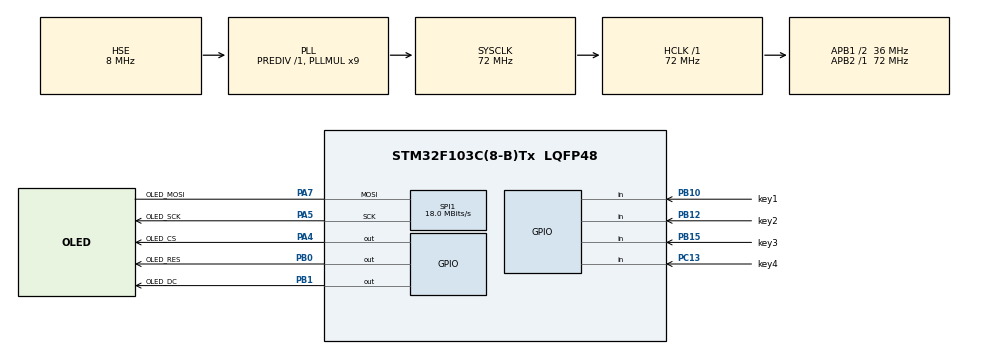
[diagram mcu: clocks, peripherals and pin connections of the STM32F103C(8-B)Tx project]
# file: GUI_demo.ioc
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Dma.Request0=SPI1_TX
Dma.SPI1_TX.0.Direction=DMA_MEMORY_TO_PERIPH
Dma.SPI1_TX.0.Instance=DMA1_Channel3
Dma.SPI1_TX.0.MemDataAlignment=DMA_MDATAALIGN_BYTE
Dma.SPI1_TX.0.MemInc=DMA_MINC_ENABLE
Dma.SPI1_TX.0.Mode=DMA_NORMAL
Dma.SPI1_TX.0.PeriphDataAlignment=DMA_PDATAALIGN_BYTE
Dma.SPI1_TX.0.PeriphInc=DMA_PINC_DISABLE
Dma.SPI1_TX.0.Priority=DMA_PRIORITY_LOW
Mcu.Family=STM32F1
Mcu.Name=STM32F103C(8-B)Tx
Mcu.Package=LQFP48
NVIC.DMA1_Channel3_IRQn=true\:0\:0\:false\:false\:true\:false\:true\:true
NVIC.PriorityGroup=NVIC_PRIORITYGROUP_4
PA13.Mode=Serial_Wire
PA13.Signal=SYS_JTMS-SWDIO
PA14.Mode=Serial_Wire
PA14.Signal=SYS_JTCK-SWCLK
PA4.GPIO_Label=OLED_CS
PA4.Signal=GPIO_Output
PA5.GPIO_Label=OLED_SCK
PA5.Mode=Simplex_Bidirectional_Master
PA5.Signal=SPI1_SCK
PA7.GPIO_Label=OLED_MOSI
PA7.Mode=Simplex_Bidirectional_Master
PA7.Signal=SPI1_MOSI
PB0.GPIO_Label=OLED_RES
PB0.GPIO_PuPd=GPIO_PULLUP
PB0.Signal=GPIO_Output
PB1.GPIO_Label=OLED_DC
PB1.Signal=GPIO_Output
PB10.GPIO_Label=key1
PB10.GPIO_PuPd=GPIO_PULLUP
PB10.Signal=GPIO_Input
PB12.GPIO_Label=key2
PB12.GPIO_PuPd=GPIO_PULLUP
PB12.Signal=GPIO_Input
PB15.GPIO_Label=key3
PB15.GPIO_PuPd=GPIO_PULLUP
PB15.Signal=GPIO_Input
PC13-TAMPER-RTC.GPIO_Label=key4
PC13-TAMPER-RTC.GPIO_PuPd=GPIO_PULLUP
PC13-TAMPER-RTC.Signal=GPIO_Input
PC14-OSC32_IN.Mode=LSE-External-Oscillator
PC14-OSC32_IN.Signal=RCC_OSC32_IN
PC15-OSC32_OUT.Mode=LSE-External-Oscillator
PC15-OSC32_OUT.Signal=RCC_OSC32_OUT
PD0-OSC_IN.Mode=HSE-External-Oscillator
PD0-OSC_IN.Signal=RCC_OSC_IN
PD1-OSC_OUT.Mode=HSE-External-Oscillator
PD1-OSC_OUT.Signal=RCC_OSC_OUT
ProjectManager.HeapSize=0x200
ProjectManager.StackSize=0x400
ProjectManager.TargetToolchain=CMake
RCC.AHBFreq_Value=72000000
RCC.APB1CLKDivider=RCC_HCLK_DIV2
RCC.APB1Freq_Value=36000000
RCC.APB1TimFreq_Value=72000000
RCC.APB2Freq_Value=72000000
RCC.APB2TimFreq_Value=72000000
RCC.HCLKFreq_Value=72000000
RCC.PLLMUL=RCC_PLL_MUL9
RCC.PLLSourceVirtual=RCC_PLLSOURCE_HSE
RCC.SYSCLKFreq_VALUE=72000000
RCC.SYSCLKSource=RCC_SYSCLKSOURCE_PLLCLK
RCC.USBFreq_Value=72000000
SPI1.BaudRatePrescaler=SPI_BAUDRATEPRESCALER_4
SPI1.CLKPhase=SPI_PHASE_2EDGE
SPI1.CLKPolarity=SPI_POLARITY_HIGH
SPI1.CalculateBaudRate=18.0 MBits/s
SPI1.Direction=SPI_DIRECTION_1LINE
SPI1.Mode=SPI_MODE_MASTER
SPI1.VirtualType=VM_MASTER
TIM1.Prescaler=99
VP_TIM1_VS_ClockSourceINT.Mode=Internal
board=custom

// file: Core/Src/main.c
/* USER CODE BEGIN Header */
/**
  ******************************************************************************
  * @file           : main.c
  * @brief          : Main program body
  ******************************************************************************
  * @attention
  *
  * Copyright (c) 2026 STMicroelectronics.
  * All rights reserved.
  *
  * This software is licensed under terms that can be found in the LICENSE file
  * in the root directory of this software component.
  * If no LICENSE file comes with this software, it is provided AS-IS.
  *
  ******************************************************************************
  */
/* USER CODE END Header */
#include "main.h"
#include "dma.h"
#include "spi.h"
#include "tim.h"
#include "gpio.h"

/* USER CODE BEGIN Includes */
#include "stm32_u8g2.h"
#include "u8g2.h"
#include "user_func.h"
#include "Key.h"

/* forward declarations — must precede PV menu definitions */
static void meter_bar_action(void);
static void meter_quad_action(void);
static void brightness_action(void);
static void power_action(void);
static void reset_action(void);
static void custom_screen1_action(void);
static void custom_screen2_action(void);
static void my_custom_render(u8g2_t *u8g2, uint8_t id);
/* USER CODE END Includes */

/* USER CODE BEGIN PV */
/* demo variables referenced by action callbacks */
static int16_t demo_brightness = 50;
static bool    demo_power = true;

/* ---- 仪表盘变量 ---- */
static int16_t g_temp  = 30;
static int16_t g_humi  = 67;
static int16_t g_volt  = 330;
static int16_t g_press = 1013;
static int16_t g_rpm   = 2750;

/* 进度条型仪表盘 (bar) */
static meter_bar_page_t dash_bar_page =
    METER_BAR_PAGE("Bar Dashboard",
        { "Temperature", &g_temp,  0,   60, "C",   5 },
        { "Humidity",    &g_humi,  0,  100, "%",   5 },
        { "Voltage",     &g_volt,  200, 500, "mV", 5 },
    );

/* 四象限型仪表盘 (quad) */
static meter_quad_page_t dash_quad_page =
    METER_QUAD_PAGE("Quad Monitor",
        { "Temperature", &g_temp,  "°C"   },
        { "Humidity",    &g_humi,  "%"    },
        { "Pressure",    &g_press, "hPa"  },
        { "Motor RPM",   &g_rpm,   "rpm"  },
    );

/* ---- 24x24 全白测试图标 (共用同一份位图数据) ---- */
#define ICON_W  24
#define ICON_H  24

static const uint8_t icon_white_bits[] U8X8_PROGMEM = {
    0xFF,0xFF,0xFF, 0xFF,0xFF,0xFF, 0xFF,0xFF,0xFF, 0xFF,0xFF,0xFF,
    0xFF,0xFF,0xFF, 0xFF,0xFF,0xFF, 0xFF,0xFF,0xFF, 0xFF,0xFF,0xFF,
    0xFF,0xFF,0xFF, 0xFF,0xFF,0xFF, 0xFF,0xFF,0xFF, 0xFF,0xFF,0xFF,
    0xFF,0xFF,0xFF, 0xFF,0xFF,0xFF, 0xFF,0xFF,0xFF, 0xFF,0xFF,0xFF,
    0xFF,0xFF,0xFF, 0xFF,0xFF,0xFF, 0xFF,0xFF,0xFF, 0xFF,0xFF,0xFF,
    0xFF,0xFF,0xFF, 0xFF,0xFF,0xFF, 0xFF,0xFF,0xFF, 0xFF,0xFF,0xFF,
};
static const uint8_t icon_home_bits[] U8X8_PROGMEM = {
0xff, 0xff, 0xff, 0xff, 0xff, 0xff, 0xff, 0xc7, 0xff, 0xff, 0x83, 0xff, 0xff, 0x11, 0xff, 0xff, 0x38, 0xfe, 0x7f, 0xfc, 0xfc, 0x3f, 0xfe, 0xf1,
0x1f, 0xff, 0xe3, 0x8f, 0xff, 0xc7, 0xc7, 0xff, 0xcf, 0xe7, 0xff, 0xcf, 0xe7, 0xff, 0xcf, 0xe7, 0xff, 0xcf, 0xe7, 0x03, 0xcf, 0xe7, 0x01, 0xcf,
0xe7, 0x39, 0xcf, 0xe7, 0x39, 0xcf, 0xe7, 0x39, 0xcf, 0xe7, 0x39, 0xcf, 0x07, 0x00, 0xc0, 0x0f, 0x00, 0xc0, 0xff, 0xff, 0xff, 0xff, 0xff, 0xff,

};
static const uint8_t icon_search_bits[] U8X8_PROGMEM = {
0xff, 0xff, 0xff, 0xff, 0x9f, 0xff, 0xff, 0x03, 0xfc, 0xff, 0x01, 0xf8, 0xff, 0xf8, 0xf1, 0x7f, 0xfc, 0xe6, 0x7f, 0xfe, 0xc4, 0x3f, 0xff, 0xcd,
0x3f, 0xff, 0xcf, 0x3f, 0xff, 0xcf, 0x3f, 0xff, 0xcf, 0x3f, 0xff, 0xcf, 0x7f, 0xfe, 0xc7, 0x7f, 0xfe, 0xe7, 0xff, 0xfc, 0xe3, 0x7f, 0xf0, 0xf0,
0x3f, 0x00, 0xf8, 0x1f, 0x0f, 0xfe, 0x0f, 0xff, 0xff, 0x87, 0xff, 0xff, 0xc3, 0xff, 0xff, 0xe3, 0xff, 0xff, 0xf7, 0xff, 0xff, 0xff, 0xff, 0xff,

};
static const uint8_t icon_settings_bits[] U8X8_PROGMEM ={
0xff, 0xff, 0xff, 0xff, 0xff, 0xff, 0xff, 0xc3, 0xff, 0xff, 0x83, 0xff, 0x3f, 0x99, 0xf8, 0x1f, 0x18, 0xf0, 0x8f, 0x7c, 0xf2, 0x8f, 0xe7, 0xf3,
0x9f, 0x81, 0xf1, 0x8f, 0x11, 0xf3, 0xc3, 0x3c, 0xc2, 0xf3, 0x7c, 0xce, 0xf3, 0x7c, 0xce, 0xc3, 0x3c, 0xc3, 0x8f, 0x10, 0xf3, 0x9f, 0x81, 0xf1,
0x8f, 0xe7, 0xf3, 0xcf, 0x7c, 0xf2, 0x1f, 0x18, 0xf0, 0x3f, 0x90, 0xf8, 0xff, 0x83, 0xff, 0xff, 0xc3, 0xff, 0xff, 0xff, 0xff, 0xff, 0xff, 0xff,

};
static const uint8_t icon_about_bits[] U8X8_PROGMEM ={
0xff, 0xff, 0xff, 0xff, 0xe7, 0xff, 0x7f, 0x00, 0xff, 0x3f, 0x00, 0xfc, 0x1f, 0x7f, 0xf8, 0x8f, 0xff, 0xf1, 0xc7, 0xf7, 0xf3, 0xe3, 0xe7, 0xe7,
0xf3, 0xe7, 0xe7, 0xf3, 0xe7, 0xc7, 0xf1, 0xe7, 0xcf, 0xf1, 0xe7, 0xcf, 0xf1, 0xe7, 0xcf, 0xf1, 0xe7, 0xcf, 0xf3, 0xff, 0xc7, 0xf3, 0xf7, 0xe7,
0xe3, 0xe3, 0xe7, 0xc7, 0xf7, 0xf3, 0x8f, 0xff, 0xf1, 0x1f, 0x7f, 0xf8, 0x3f, 0x00, 0xfc, 0x7f, 0x00, 0xff, 0xff, 0xe7, 0xff, 0xff, 0xff, 0xff,

};

/* ---- 页面前向声明 (供 parent 指针交叉引用) ---- */
static menu_page_t settings_page;
static menu_page_t display_page;
static menu_page_t about_page;
static menu_page_t icon_page;
static menu_page_t root_page;

/* ---- 子菜单页 (使用宏, parent 直接写入) ---- */
static menu_page_t settings_page =
    MENU_PAGE_TEXT("Settings", &root_page,
        { "Brightness Adjustment Level", {0}, brightness_action, NULL },
        { "Power Save Mode Config",      {0}, power_action,      NULL },
        { "Reset",                       {0}, reset_action,      NULL },
    );

static menu_page_t display_page =
    MENU_PAGE_TEXT("Display", &root_page,
        { "Flip Display 180 Degrees",    {0}, NULL, NULL },
        { "Invert Display Color Mode",   {0}, NULL, NULL },
    );

static menu_page_t about_page =
    MENU_PAGE_TEXT("About", &root_page,
        { "STM32F103 GUI Demo Project v4.1",          {0}, NULL, NULL },
        { "u8g2 Library + SSD1306 OLED Display",      {0}, NULL, NULL },
        { "Build Date: 2026-06-15",                   {0}, NULL, NULL },
    );

/* ---- 图标菜单页 (水平排列, 全白测试位图) ---- */
static menu_page_t icon_page =
    MENU_PAGE_ICON("Icon Menu", &root_page,
        { "Home",     {icon_home_bits, ICON_W, ICON_H}, NULL, NULL },
        { "Search",   {icon_search_bits, ICON_W, ICON_H}, NULL, NULL },
        { "Settings", {icon_settings_bits, ICON_W, ICON_H}, NULL, NULL },
        { "Tools",    {icon_white_bits, ICON_W, ICON_H}, NULL, NULL },
        { "About",    {icon_about_bits, ICON_W, ICON_H}, NULL, NULL },
    );

/* ---- 根菜单 ---- */
static menu_page_t root_page =
    MENU_PAGE_TEXT("Main Menu", NULL,
        { "Custom Screen 1 - Long Name Test", {0}, custom_screen1_action, NULL },
        { "Custom Screen 2",                  {0}, custom_screen2_action, NULL },
        { "Bar Dashboard",                    {0}, meter_bar_action,    NULL },
        { "Quad Monitor",                     {0}, meter_quad_action,   NULL },
        { "Icon Menu",                        {0}, NULL,                &icon_page },
        { "Settings",                         {0}, NULL,                &settings_page },
        { "Display",                          {0}, NULL,                &display_page },
        { "About",                            {0}, NULL,                &about_page },
    );
/* USER CODE END PV */

void SystemClock_Config(void);

/* USER CODE BEGIN 0 */
static void meter_bar_action(void)        { UI_meter_bar_open(&dash_bar_page); }
static void meter_quad_action(void)       { UI_meter_quad_open(&dash_quad_page); }

static void brightness_action(void) {
    UI_popup_value_open("Brightness", &demo_brightness, 0, 100, 5);
}

static void power_action(void) {
    UI_popup_toggle_open("Power Save", &demo_power, "ON", "OFF");
}

static void confirm_reset_cb(bool ok) {
    if (ok) UI_popup_toast_show("Settings cleared");
}
static void reset_action(void) {
    UI_popup_confirm_open("Reset all settings?", confirm_reset_cb);
}

static void custom_screen1_action(void) { UI_screen_enter(1); }
static void custom_screen2_action(void) { UI_screen_enter(2); }

static void my_custom_render(u8g2_t *u8g2, uint8_t id) {
    u8g2_SetFontMode(u8g2, 1);
    if (id == 1) {
        u8g2_SetFont(u8g2, u8g2_font_helvB10_tr);
        u8g2_SetDrawColor(u8g2, 1);
        u8g2_DrawStr(u8g2, 10, 25, "Custom Screen 1");
        u8g2_DrawHLine(u8g2, 10, 30, 108);
        u8g2_SetFont(u8g2, u8g2_font_6x10_tr);
        u8g2_DrawStr(u8g2, 10, 45, "Press BACK to return.");
    } else {
        u8g2_SetFont(u8g2, u8g2_font_helvB10_tr);
        u8g2_SetDrawColor(u8g2, 1);
        u8g2_DrawStr(u8g2, 10, 20, "Custom Screen 2");
        u8g2_DrawHLine(u8g2, 10, 26, 108);
        u8g2_SetFont(u8g2, u8g2_font_6x10_tr);
        u8g2_DrawStr(u8g2, 10, 40, "Another screen.");
        u8g2_DrawStr(u8g2, 10, 52, "Back key exits.");
    }
}
/* USER CODE END 0 */

int main(void)
{

  /* MCU Configuration--------------------------------------------------------*/

  /* Reset of all peripherals, Initializes the Flash interface and the Systick. */
  HAL_Init();

  /* Configure the system clock */
  SystemClock_Config();

  /* USER CODE BEGIN SysInit */
  HAL_SYSTICK_Config(HAL_RCC_GetHCLKFreq() / 1000);
  /* USER CODE END SysInit */

  /* Initialize all configured peripherals */
  MX_GPIO_Init();
  MX_DMA_Init();
  MX_TIM1_Init();
  MX_SPI1_Init();
  /* USER CODE BEGIN 2 */
  u8g2_t u8g2;
  MD_OLED_RST_Set();
  u8g2Init(&u8g2);

  UI_init(&u8g2, &root_page);
  UI_screen_set_render(my_custom_render);
  /* USER CODE END 2 */

  /* Infinite loop */
  /* USER CODE BEGIN WHILE */
  while (1)
  {
      anim_manager_update();

      int8_t key = Key();
      UI_update(key);
      UI_render(&u8g2);
    /* USER CODE END WHILE */

  }
}

void SystemClock_Config(void)
{
  RCC_OscInitTypeDef RCC_OscInitStruct = {0};
  RCC_ClkInitTypeDef RCC_ClkInitStruct = {0};

  /** Initializes the RCC Oscillators according to the specified parameters
  * in the RCC_OscInitTypeDef structure.
  */
  RCC_OscInitStruct.OscillatorType = RCC_OSCILLATORTYPE_HSE;
  RCC_OscInitStruct.HSEState = RCC_HSE_ON;
  RCC_OscInitStruct.HSEPredivValue = RCC_HSE_PREDIV_DIV1;
  RCC_OscInitStruct.HSIState = RCC_HSI_ON;
  RCC_OscInitStruct.PLL.PLLState = RCC_PLL_ON;
  RCC_OscInitStruct.PLL.PLLSource = RCC_PLLSOURCE_HSE;
  RCC_OscInitStruct.PLL.PLLMUL = RCC_PLL_MUL9;
  if (HAL_RCC_OscConfig(&RCC_OscInitStruct) != HAL_OK)
  {
    Error_Handler();
  }

  /** Initializes the CPU, AHB and APB buses clocks
  */
  RCC_ClkInitStruct.ClockType = RCC_CLOCKTYPE_HCLK|RCC_CLOCKTYPE_SYSCLK
                              |RCC_CLOCKTYPE_PCLK1|RCC_CLOCKTYPE_PCLK2;
  RCC_ClkInitStruct.SYSCLKSource = RCC_SYSCLKSOURCE_PLLCLK;
  RCC_ClkInitStruct.AHBCLKDivider = RCC_SYSCLK_DIV1;
  RCC_ClkInitStruct.APB1CLKDivider = RCC_HCLK_DIV2;
  RCC_ClkInitStruct.APB2CLKDivider = RCC_HCLK_DIV1;

  if (HAL_RCC_ClockConfig(&RCC_ClkInitStruct, FLASH_LATENCY_2) != HAL_OK)
  {
    Error_Handler();
  }
}

void Error_Handler(void)
{
  __disable_irq();
  while (1)
  {
  }
}
